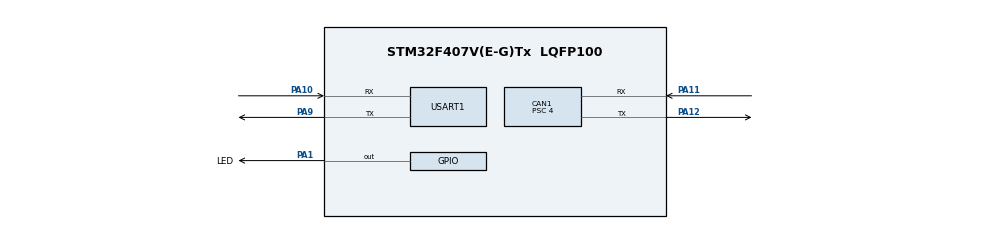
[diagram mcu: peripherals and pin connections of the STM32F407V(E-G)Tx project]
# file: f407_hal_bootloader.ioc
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CAN1.ABOM=ENABLE
CAN1.BS1=CAN_BS1_13TQ
CAN1.BS2=CAN_BS2_2TQ
CAN1.CalculateBaudRate=500000
CAN1.CalculateTimeBit=2000
CAN1.CalculateTimeQuantum=125.0
CAN1.Prescaler=4
CAN1.TXFP=ENABLE
Dma.Request0=USART1_RX
Dma.Request1=USART1_TX
Dma.USART1_RX.0.Direction=DMA_PERIPH_TO_MEMORY
Dma.USART1_RX.0.FIFOMode=DMA_FIFOMODE_DISABLE
Dma.USART1_RX.0.Instance=DMA2_Stream2
Dma.USART1_RX.0.MemDataAlignment=DMA_MDATAALIGN_BYTE
Dma.USART1_RX.0.MemInc=DMA_MINC_ENABLE
Dma.USART1_RX.0.Mode=DMA_NORMAL
Dma.USART1_RX.0.PeriphDataAlignment=DMA_PDATAALIGN_BYTE
Dma.USART1_RX.0.PeriphInc=DMA_PINC_DISABLE
Dma.USART1_RX.0.Priority=DMA_PRIORITY_LOW
Dma.USART1_TX.1.Direction=DMA_MEMORY_TO_PERIPH
Dma.USART1_TX.1.FIFOMode=DMA_FIFOMODE_DISABLE
Dma.USART1_TX.1.Instance=DMA2_Stream7
Dma.USART1_TX.1.MemDataAlignment=DMA_MDATAALIGN_BYTE
Dma.USART1_TX.1.MemInc=DMA_MINC_ENABLE
Dma.USART1_TX.1.Mode=DMA_NORMAL
Dma.USART1_TX.1.PeriphDataAlignment=DMA_PDATAALIGN_BYTE
Dma.USART1_TX.1.PeriphInc=DMA_PINC_DISABLE
Dma.USART1_TX.1.Priority=DMA_PRIORITY_LOW
Mcu.Family=STM32F4
Mcu.Name=STM32F407V(E-G)Tx
Mcu.Package=LQFP100
NVIC.CAN1_RX0_IRQn=true\:0\:0\:false\:false\:true\:true\:true\:true
NVIC.CAN1_SCE_IRQn=true\:0\:0\:false\:false\:true\:true\:true\:true
NVIC.DMA2_Stream2_IRQn=true\:0\:0\:false\:false\:true\:false\:true\:true
NVIC.DMA2_Stream7_IRQn=true\:0\:0\:false\:false\:true\:false\:true\:true
NVIC.PriorityGroup=NVIC_PRIORITYGROUP_4
NVIC.TIM5_IRQn=true\:15\:0\:false\:false\:true\:false\:true\:true
NVIC.TimeBase=TIM5_IRQn
NVIC.TimeBaseIP=TIM5
NVIC.USART1_IRQn=true\:0\:0\:false\:false\:true\:true\:true\:true
PA1.GPIO_Label=LED
PA1.Signal=GPIO_Output
PA10.Mode=Asynchronous
PA10.Signal=USART1_RX
PA11.Mode=CAN_Activate
PA11.Signal=CAN1_RX
PA12.Mode=CAN_Activate
PA12.Signal=CAN1_TX
PA13.Mode=Serial_Wire
PA13.Signal=SYS_JTMS-SWDIO
PA14.Mode=Serial_Wire
PA14.Signal=SYS_JTCK-SWCLK
PA9.Mode=Asynchronous
PA9.Signal=USART1_TX
ProjectManager.HeapSize=0x200
ProjectManager.StackSize=0x400
ProjectManager.TargetToolchain=STM32CubeIDE
RCC.48MHZClocksFreq_Value=64000000
RCC.AHBFreq_Value=128000000
RCC.APB1CLKDivider=RCC_HCLK_DIV4
RCC.APB1Freq_Value=32000000
RCC.APB1TimFreq_Value=64000000
RCC.APB2CLKDivider=RCC_HCLK_DIV2
RCC.APB2Freq_Value=64000000
RCC.APB2TimFreq_Value=128000000
RCC.CortexFreq_Value=128000000
RCC.HCLKFreq_Value=128000000
RCC.HSE_VALUE=8000000
RCC.HSI_VALUE=16000000
RCC.LSE_VALUE=32768
RCC.PLLM=8
RCC.PLLN=128
RCC.SYSCLKFreq_VALUE=128000000
RCC.SYSCLKSource=RCC_SYSCLKSOURCE_PLLCLK
RCC.VCOOutputFreq_Value=256000000
USART1.VirtualMode=VM_ASYNC
VP_SYS_VS_tim5.Mode=TIM5
board=custom

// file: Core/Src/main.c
/* USER CODE BEGIN Header */
/**
  ******************************************************************************
  * @file           : main.c
  * @brief          : Main program body
  ******************************************************************************
  * @attention
  *
  * Copyright (c) 2024 STMicroelectronics.
  * All rights reserved.
  *
  * This software is licensed under terms that can be found in the LICENSE file
  * in the root directory of this software component.
  * If no LICENSE file comes with this software, it is provided AS-IS.
  *
  ******************************************************************************
  */
/* USER CODE END Header */
#include "main.h"
#include "can.h"
#include "dma.h"
#include "usart.h"
#include "gpio.h"

/* USER CODE BEGIN PV */
SharedData sharedData;
/* USER CODE END PV */

void SystemClock_Config(void);

int main(void)
{

  /* USER CODE BEGIN 1 */
//    __disable_irq();
//    SCB->VTOR = FLASH_BOOTLOADER_START_ADDR;
//    __set_MSP(*((volatile uint32_t*) FLASH_BOOTLOADER_START_ADDR));
//    __set_PSP(*((volatile uint32_t*) FLASH_BOOTLOADER_START_ADDR));
//    __enable_irq();
  /* USER CODE END 1 */

  /* MCU Configuration--------------------------------------------------------*/

  /* Reset of all peripherals, Initializes the Flash interface and the Systick. */
  HAL_Init();

  /* Configure the system clock */
  SystemClock_Config();

  /* Initialize all configured peripherals */
  MX_GPIO_Init();
  MX_DMA_Init();
  MX_USART1_UART_Init();
  MX_CAN1_Init();

  /* Infinite loop */
  /* USER CODE BEGIN WHILE */
  uint32_t countToStart = 0;
  while (1)
  {
      if (countToStart > 500 && !gIsErased && !gIsCorrupted)
      {
          if (Flash_CheckFwPresented() == FLASH_OK)
          {
              char pStrFromMem[256] = { 0 };
              if (Flash_ReadStringFromMem(pStrFromMem, sizeof(pStrFromMem), (FLASH_CRC_START_ADDR - FLASH_USER_START_ADDR)) == FLASH_OK)
              {
                  if (Flash_ProcessAppCrc(FLASH_TIMESTAMP_PAGE, (uint16_t*) pStrFromMem, FLASH_VERIFY_CRC) == FLASH_OK)
                  {
                      // Read timestamp
                      memset(pStrFromMem, 0, sizeof(pStrFromMem));
                      Flash_ReadStringFromMem(pStrFromMem, sizeof(pStrFromMem), FLASH_VASR_START_ADDR - FLASH_USER_START_ADDR);
                      Flash_JumpToApp(FLASH_FW_START_ADDR);
                  }
              }
          }
          countToStart = 0;
      }
      else
      {
          countToStart++;
          if (countToStart % 20 == 0)
          {
              HAL_GPIO_TogglePin(LED_GPIO_Port, LED_Pin);
          }
      }
      HAL_Delay(10);

    /* USER CODE END WHILE */
  }
}

void SystemClock_Config(void)
{
  LL_FLASH_SetLatency(LL_FLASH_LATENCY_4);
  while(LL_FLASH_GetLatency()!= LL_FLASH_LATENCY_4)
  {
  }
  LL_PWR_SetRegulVoltageScaling(LL_PWR_REGU_VOLTAGE_SCALE1);
  LL_RCC_HSI_SetCalibTrimming(16);
  LL_RCC_HSI_Enable();

   /* Wait till HSI is ready */
  while(LL_RCC_HSI_IsReady() != 1)
  {

  }
  LL_RCC_PLL_ConfigDomain_SYS(LL_RCC_PLLSOURCE_HSI, LL_RCC_PLLM_DIV_8, 128, LL_RCC_PLLP_DIV_2);
  LL_RCC_PLL_Enable();

   /* Wait till PLL is ready */
  while(LL_RCC_PLL_IsReady() != 1)
  {

  }
  while (LL_PWR_IsActiveFlag_VOS() == 0)
  {
  }
  LL_RCC_SetAHBPrescaler(LL_RCC_SYSCLK_DIV_1);
  LL_RCC_SetAPB1Prescaler(LL_RCC_APB1_DIV_4);
  LL_RCC_SetAPB2Prescaler(LL_RCC_APB2_DIV_2);
  LL_RCC_SetSysClkSource(LL_RCC_SYS_CLKSOURCE_PLL);

   /* Wait till System clock is ready */
  while(LL_RCC_GetSysClkSource() != LL_RCC_SYS_CLKSOURCE_STATUS_PLL)
  {

  }
  LL_SetSystemCoreClock(128000000);

   /* Update the time base */
  if (HAL_InitTick (TICK_INT_PRIORITY) != HAL_OK)
  {
    Error_Handler();
  }
}

void HAL_TIM_PeriodElapsedCallback(TIM_HandleTypeDef *htim)
{
  if (htim->Instance == TIM5) {
    HAL_IncTick();
  }
}

void Error_Handler(void)
{
  __disable_irq();
  while (1)
  {
  }
}
